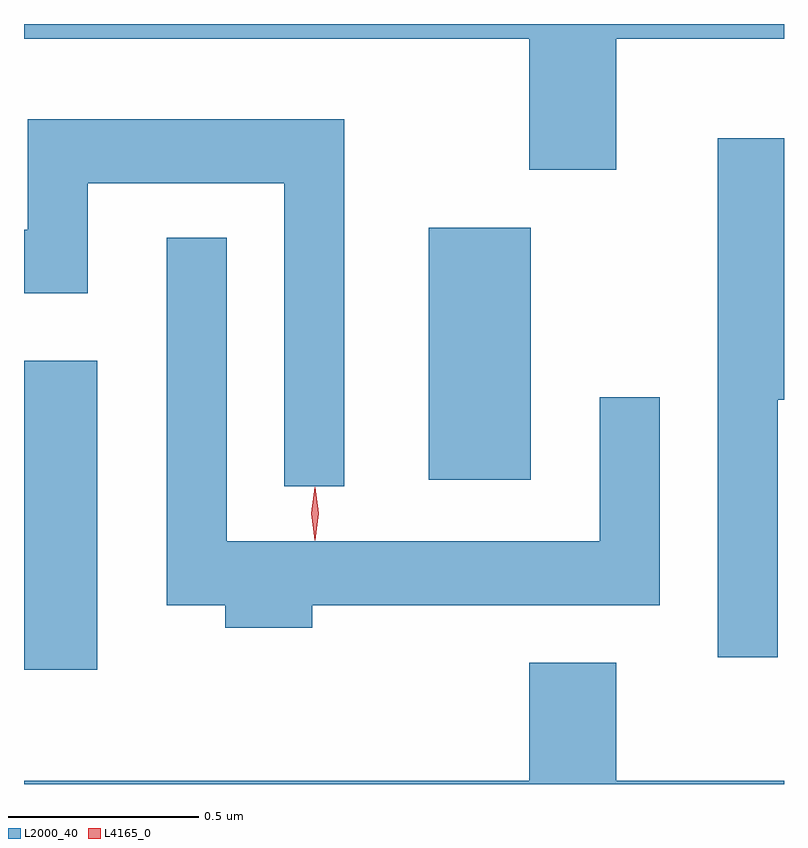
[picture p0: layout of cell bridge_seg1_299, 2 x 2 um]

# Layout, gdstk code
import gdstk
lib = gdstk.Library(unit=1e-6, precision=1e-09)
def R(c, l, rs):  # rectangles x0, y0, x1, y1
    for r in rs: c.add(gdstk.rectangle(r[:2], r[2:], *l))
def P(c, l, *ps):  # polygons
    for p in ps: c.add(gdstk.Polygon(p, *l))
L2000_40 = (2000, 40)
L4165_0 = (4165, 0)

bridge_seg1_299 = lib.new_cell('bridge_seg1_299')
R(bridge_seg1_299, L2000_40, [(871.311,891.256,871.504,892.069), (872.376,891.756,872.644,892.419)])
P(bridge_seg1_299, L2000_40, [(872.869,892.916),(873.311,892.916),(873.311,892.955),(871.311,892.955),(871.311,892.916),(872.641,892.916),(872.641,892.571),(872.869,892.571)],
  [(872.154,892.704),(871.321,892.704),(871.321,892.414),(871.311,892.414),(871.311,892.246),(871.479,892.246),(871.479,892.536),(871.996,892.536),(871.996,891.738),(872.154,891.738)],
  [(873.294,891.966),(873.311,891.966),(873.311,892.654),(873.136,892.654),(873.136,891.288),(873.294,891.288)],
  [(872.069,891.426),(872.984,891.426),(872.984,891.973),(872.826,891.973),(872.826,891.594),(871.844,891.594),(871.844,892.393),(871.686,892.393),(871.686,891.426),(871.841,891.426),(871.841,891.366),(872.069,891.366)],
  [(873.311,890.964),(872.869,890.964),(872.869,891.274),(872.641,891.274),(872.641,890.964),(871.311,890.964),(871.311,890.955),(873.311,890.955)])
P(bridge_seg1_299, L4165_0, [(872.077,891.599),(872.076,891.6),(872.067,891.666),(872.076,891.732),(872.076,891.733),(872.077,891.732),(872.086,891.666),(872.077,891.6)],
  [(872.076,891.597),(872.067,891.667),(872.076,891.736),(872.077,891.736),(872.077,891.736),(872.087,891.667),(872.077,891.597),(872.077,891.597)])

lib.write_gds('bridge_seg1_299.gds')
